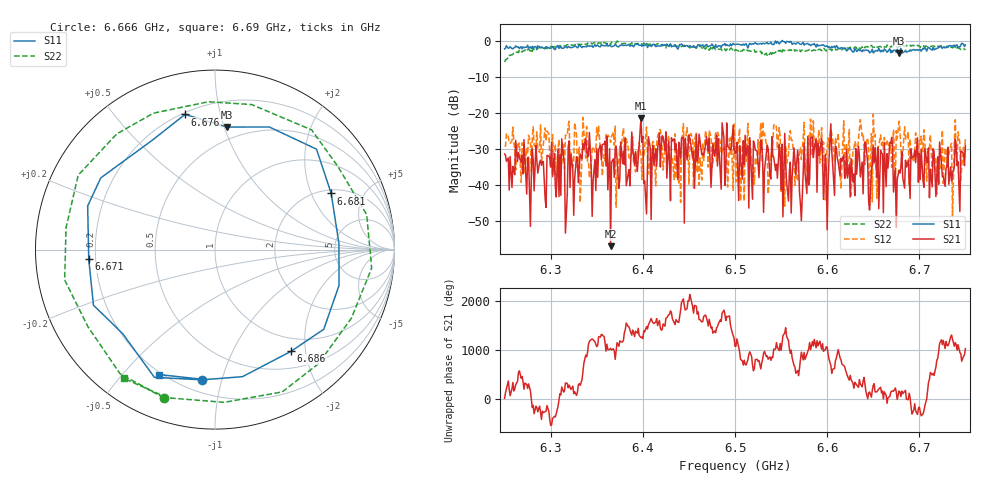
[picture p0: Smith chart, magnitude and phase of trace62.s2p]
# Hz S RI R 50
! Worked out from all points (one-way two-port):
!   401 points, 6.25 GHz to 6.75 GHz, reference 50 ohm
!   highest |S21| = -21.29 dB at 6.398 GHz (marker M1); lowest = -56.8 dB at 6.365 GHz (marker M2)
!   lowest |S11| = -3.3 dB at 6.678 GHz (marker M3), VSWR 5.37, Z = 19.8 + j51.1 ohm
!   |S11| at or under -10 dB: nowhere
!   |S22| runs from -5.7 to 0.1 dB; largest |S21 - S12| = 0.13
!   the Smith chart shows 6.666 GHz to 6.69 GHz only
!   S11 on the Smith chart (normalised r, x): 6.666 GHz: 0.28, -0.87; 6.671 GHz: 0.17, -0.04; 6.676 GHz: 0.21, +0.78; 6.681 GHz: 2.18, +2.82; 6.686 GHz: 0.76, -1.74; 6.69 GHz: 0.19, -0.63
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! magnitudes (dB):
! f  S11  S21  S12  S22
! 6.25 GHz  -2.1  -31.3  -29.0  -5.7
! 6.334 GHz  -1.7  -32.6  -31.8  -0.9
! 6.359 GHz  -1.3  -27.7  -33.1  -0.5
! 6.365 GHz  -1.3  -56.8  -28.1  -1.0
! 6.398 GHz  -1.1  -21.3  -31.6  -0.5
! 6.402 GHz  -1.2  -38.7  -29.4  -0.7
! 6.418 GHz  -1.3  -25.4  -24.6  -1.1
! 6.439 GHz  -1.6  -28.0  -39.3  -1.4
! 6.446 GHz  -1.2  -26.9  -27.6  -1.5
! 6.5 GHz  -0.9  -31.1  -30.0  -2.4
! 6.571 GHz  -0.8  -45.0  -29.6  -2.9
! 6.584 GHz  -0.8  -26.6  -31.9  -2.6
! 6.599 GHz  -1.3  -35.6  -34.3  -2.7
! 6.666 GHz  -2.7  -35.2  -28.4  -1.2
! 6.668 GHz  -2.1  -28.1  -30.0  -1.2
! 6.671 GHz  -3.0  -29.5  -29.0  -1.5
! 6.676 GHz  -2.3  -38.3  -27.1  -1.7
! 6.678 GHz  -3.3  -35.8  -22.2  -1.6
! 6.681 GHz  -2.9  -30.6  -33.7  -1.2
! 6.686 GHz  -3.0  -34.9  -27.3  -1.1
! 6.69 GHz  -2.3  -43.6  -27.0  -1.1
! 6.75 GHz  -1.0  -28.9  -26.7  -2.4
